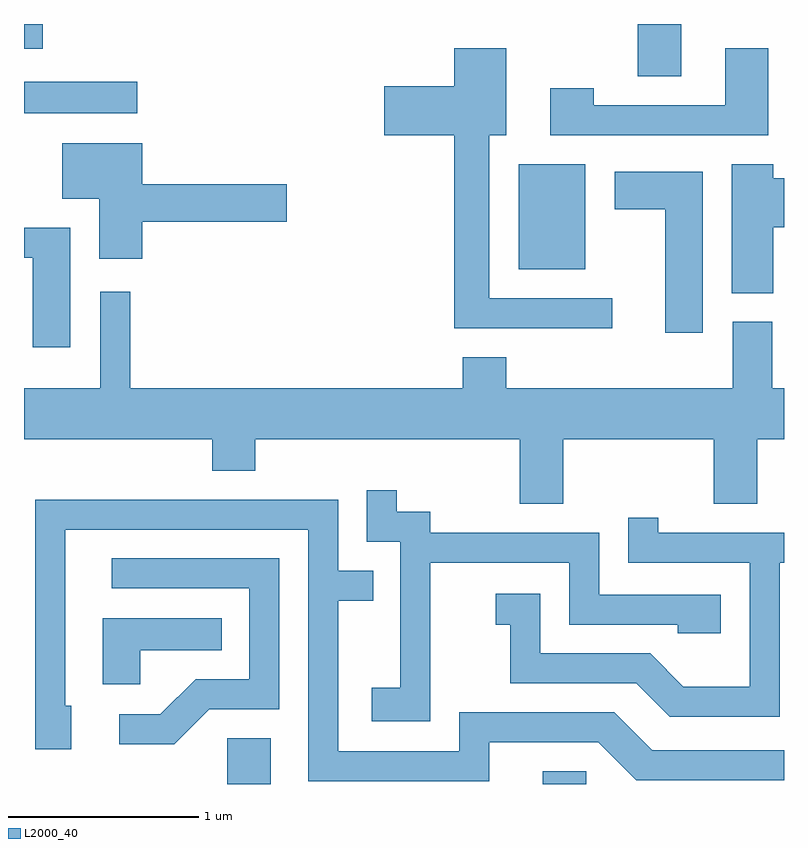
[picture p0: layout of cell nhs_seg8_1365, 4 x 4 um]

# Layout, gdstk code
import gdstk
lib = gdstk.Library(unit=1e-6, precision=1e-09)
def R(c, l, rs):  # rectangles x0, y0, x1, y1
    for r in rs: c.add(gdstk.rectangle(r[:2], r[2:], *l))
def P(c, l, *ps):  # polygons
    for p in ps: c.add(gdstk.Polygon(p, *l))
L2000_40 = (2000, 40)

nhs_seg8_1365 = lib.new_cell('nhs_seg8_1365')
R(nhs_seg8_1365, L2000_40, [(226.681,1872.342,226.909,1872.584), (228.341,1872.342,228.569,1872.409), (228.216,1875.051,228.564,1875.604), (225.611,1875.871,226.208,1876.039), (228.841,1876.066,229.069,1876.342), (225.611,1876.211,225.709,1876.342)])
P(nhs_seg8_1365, L2000_40, [(229.529,1876.214),(229.301,1876.214),(229.301,1875.914),(228.609,1875.914),(228.609,1876.004),(228.381,1876.004),(228.381,1875.756),(229.529,1875.756)],
  [(228.708,1874.899),(228.059,1874.899),(228.059,1875.756),(228.149,1875.756),(228.149,1876.214),(227.876,1876.214),(227.876,1876.014),(227.506,1876.014),(227.506,1875.756),(227.876,1875.756),(227.876,1874.741),(228.708,1874.741)],
  [(226.234,1875.301),(226.994,1875.301),(226.994,1875.499),(226.234,1875.499),(226.234,1875.714),(225.811,1875.714),(225.811,1875.421),(226.006,1875.421),(226.006,1875.106),(226.234,1875.106)],
  [(229.554,1875.271),(229.611,1875.271),(229.611,1875.529),(229.554,1875.529),(229.554,1875.604),(229.336,1875.604),(229.336,1874.926),(229.554,1874.926)],
  [(229.184,1875.564),(228.721,1875.564),(228.721,1875.366),(228.986,1875.366),(228.986,1874.716),(229.184,1874.716)],
  [(225.854,1875.269),(225.611,1875.269),(225.611,1875.111),(225.656,1875.111),(225.656,1874.641),(225.854,1874.641)],
  [(227.921,1874.589),(227.921,1874.424),(226.169,1874.424),(226.169,1874.933),(226.011,1874.933),(226.011,1874.424),(225.611,1874.424),(225.611,1874.156),(226.601,1874.156),(226.601,1873.991),(226.829,1873.991),(226.829,1874.156),(228.221,1874.156),(228.221,1873.816),(228.449,1873.816),(228.449,1874.156),(229.241,1874.156),(229.241,1873.816),(229.469,1873.816),(229.469,1874.156),(229.611,1874.156),(229.611,1874.424),(229.549,1874.424),(229.549,1874.774),(229.341,1874.774),(229.341,1874.424),(228.149,1874.424),(228.149,1874.589)],
  [(227.749,1873.506),(228.481,1873.506),(228.481,1873.181),(229.051,1873.181),(229.051,1873.136),(229.279,1873.136),(229.279,1873.339),(228.639,1873.339),(228.639,1873.664),(227.749,1873.664),(227.749,1873.774),(227.574,1873.774),(227.574,1873.888),(227.416,1873.888),(227.416,1873.616),(227.591,1873.616),(227.591,1872.849),(227.441,1872.849),(227.441,1872.671),(227.749,1872.671)],
  [(228.059,1872.561),(228.634,1872.561),(228.834,1872.361),(229.611,1872.361),(229.611,1872.519),(228.917,1872.519),(228.717,1872.719),(227.901,1872.719),(227.901,1872.514),(227.264,1872.514),(227.264,1873.306),(227.448,1873.306),(227.448,1873.464),(227.264,1873.464),(227.264,1873.839),(225.671,1873.839),(225.671,1872.526),(225.859,1872.526),(225.859,1872.754),(225.829,1872.754),(225.829,1873.681),(227.106,1873.681),(227.106,1872.356),(228.059,1872.356)],
  [(229.589,1873.506),(229.611,1873.506),(229.611,1873.664),(228.949,1873.664),(228.949,1873.743),(228.791,1873.743),(228.791,1873.506),(229.431,1873.506),(229.431,1872.854),(229.082,1872.854),(228.907,1873.029),(228.329,1873.029),(228.329,1873.344),(228.093,1873.344),(228.093,1873.181),(228.171,1873.181),(228.171,1872.871),(228.834,1872.871),(229.009,1872.696),(229.589,1872.696)],
  [(226.587,1872.736),(226.954,1872.736),(226.954,1873.529),(226.073,1873.529),(226.073,1873.371),(226.796,1873.371),(226.796,1872.894),(226.514,1872.894),(226.329,1872.709),(226.113,1872.709),(226.113,1872.551),(226.402,1872.551)],
  [(226.224,1873.046),(226.653,1873.046),(226.653,1873.214),(226.026,1873.214),(226.026,1872.866),(226.224,1872.866)])

lib.write_gds('nhs_seg8_1365.gds')
